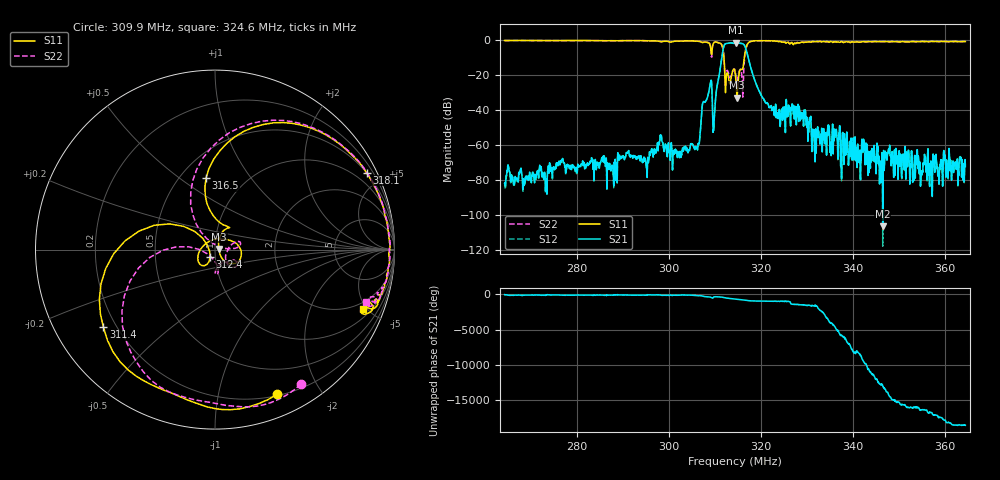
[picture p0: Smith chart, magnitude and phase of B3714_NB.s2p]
! Matrix data file written by TouchstoneData, EPCOS AG
! FILENAME: "B3714_sb.s2p"
! COMMENT: "PCB 143; PORTEX1 75.5PS; PORTEX2 161.5PS; 22"
! INFO: nport=2, nfreq=1601
! DATE: "Fri Mar 31 14:29:25 2006"
! USER: "Michael Schemies"
# MHZ S MA R 50
! freq  magS11 angS11  magS21 angS21  magS12 angS12  magS22 angS22
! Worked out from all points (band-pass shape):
!   1601 points, 264.4 MHz to 364.4 MHz, reference 50 ohm
!   highest |S21| = -1.35 dB at 314.5 MHz (marker M1); lowest = -106.5 dB at 346.4 MHz (marker M2)
!   |S21| within 3 dB of the highest: 311.8 MHz to 316.6 MHz (4.797 MHz wide, 1.53 % of centre)
!   lowest |S11| = -32.9 dB at 314.8 MHz (marker M3), VSWR 1.05, Z = 52.3 + j0.378 ohm
!   |S11| at or under -10 dB: 312 MHz to 316.4 MHz (4.415 MHz wide, 1.41 % of centre)
!   |S22| runs from -32.5 to -0.1 dB; largest |S21 - S12| = 0.0011
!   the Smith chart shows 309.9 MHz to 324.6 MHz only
!   S11 on the Smith chart (normalised r, x): 309.9 MHz: 0.21, -1.50; 311.4 MHz: 0.15, -0.31; 312.4 MHz: 0.94, -0.08; 316.5 MHz: 0.66, +0.63; 318.1 MHz: 0.50, +4.12; 324.6 MHz: 1.51, -4.68
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264.35  0.9855 -37.0  8.061e-05 -72.6  7.04e-05 -69.9  0.9813 -31.9
281.0375  0.9867 -42.4  0.0002934 -133.8  0.0002886 -132.2  0.9849 -36.8
295.225  0.9719 -52.2  0.000185 -129.7  0.0001867 -128.8  0.9714 -45.3
297.725  0.9423 -55.4  0.001201 -102.3  0.001196 -102.3  0.9444 -48.0
305.9125  0.9496 -74.5  0.000815 165.4  0.0008224 165.9  0.9522 -64.2
308.7875  0.8082 -124.6  0.04102 -34.5  0.04094 -34.4  0.8259 -106.2
309.9125  0.8776 -66.7  0.008121 -3.5  0.00809 -3.5  0.8896 -57.4
311.4125  0.7573 -145.2  0.284 -58.9  0.2834 -58.9  0.7651 -124.7
312.35  0.05108 -122.0  0.8018 -173.8  0.8012 -173.7  0.07336 -86.3
313.35  0.06392 71.7  0.8472 99.6  0.8466 99.6  0.08782 -52.5
314.35  0.1244 -39.5  0.8448 30.1  0.8442 30.2  0.1379 -45.3
314.5375  0.07059 -51.6  0.8565 16.1  0.8561 16.1  0.09163 -46.6
314.7875  0.02254 9.2  0.8437 -2.0  0.8433 -1.9  0.06875 -7.8
315.725  0.1466 57.9  0.815 -69.7  0.8143 -69.7  0.1254 5.3
316.475  0.4034 97.0  0.6871 -138.6  0.6865 -138.6  0.3461 113.0
318.1  0.9469 26.9  0.1172 125.1  0.117 125.2  0.9463 28.4
324.6  0.8867 -22.0  0.007976 50.4  0.007986 50.6  0.8925 -19.2
327.9125  0.843 -20.8  0.01281 -24.3  0.01282 -23.8  0.8568 -18.3
331.0375  0.912 -22.0  0.0006603 -138.0  0.0006494 -137.2  0.916 -19.1
346.4125  0.9163 -31.6  4.752e-06 -21.9  1.278e-06 73.8  0.9217 -27.7
347.725  0.9035 -32.6  0.0007646 147.3  0.0007537 149.1  0.9131 -28.6
364.35  0.9227 -36.1  0.0002435 -168.5  0.000245 -169.9  0.9275 -31.6
